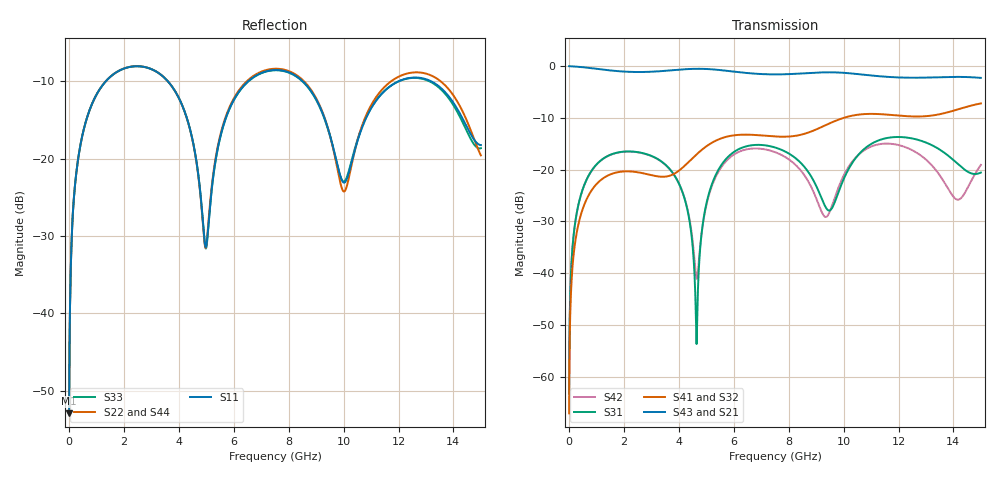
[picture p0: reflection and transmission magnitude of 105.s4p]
! Created with skrf 1.8.0 (http://scikit-rf.org).
# GHz S RI R 50.0
!freq ReS11 ImS11 ReS12 ImS12 ReS13 ImS13
! ReS14 ImS14
! ReS21 ImS21 ReS22 ImS22 ReS23 ImS23
! ReS24 ImS24
! ReS31 ImS31 ReS32 ImS32 ReS33 ImS33
! ReS34 ImS34
! ReS41 ImS41 ReS42 ImS42 ReS43 ImS43
! ReS44 ImS44
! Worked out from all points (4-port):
!   2499 points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, 5 MHz to 15 GHz, reference 50 ohm
!   strongest paths, dB at 5 MHz, 3.476 GHz, 7.19 GHz, 11.1 GHz, 15 GHz:
!     S43: 0.0, -0.9, -1.6, -1.9, -2.3
!     S21: 0.0, -0.9, -1.6, -1.9, -2.3
!     S41: -67.1, -21.4, -13.5, -9.2, -7.2
!     S32: -67.1, -21.4, -13.5, -9.3, -7.2
!     S31: -63.3, -18.9, -15.4, -14.8, -20.6
!     S42: -63.3, -18.9, -16.2, -15.4, -19.1
!   lowest |S11| = -52.9 dB at 5 MHz (marker M1), VSWR 1.00, Z = 50.2 + j0.138 ohm
!   |S11| at or under -10 dB: 3.599 GHz to 6.527 GHz (2.928 GHz wide, 57.8 % of centre); 8.513 GHz to 12.01 GHz (3.493 GHz wide, 34 % of centre); 13.19 GHz to end of sweep (the widest 3 of 4)
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0.005  0.0018 0.00137  0.9982 -0.0035  8.98e-05 0.000681  -8.74e-05 -0.000432
       0.9982 -0.0035  0.0018 0.00137  -8.74e-05 -0.000432  8.98e-05 0.000681
       8.98e-05 0.000681  -8.74e-05 -0.000432  0.0018 0.00137  0.9982 -0.0035
       -8.74e-05 -0.000432  8.98e-05 0.000681  0.9982 -0.0035  0.0018 0.00137
0.3126303  0.0281 0.0896  0.9615 -0.2172  0.0126 0.04  -0.0105 -0.025
           0.9615 -0.2172  0.0282 0.0896  -0.0105 -0.025  0.0125 0.04
           0.0126 0.04  -0.0105 -0.025  0.0282 0.0896  0.9615 -0.2172
           -0.0105 -0.025  0.0125 0.04  0.9615 -0.2172  0.0282 0.0896
1.469362  0.284 0.1751  0.5214 -0.7457  0.1268 0.0537  -0.089 -0.00192
          0.5214 -0.7457  0.2844 0.1748  -0.0889 -0.002  0.126 0.0549
          0.1268 0.0537  -0.0889 -0.002  0.2841 0.175  0.5214 -0.7457
          -0.089 -0.00192  0.126 0.0549  0.5214 -0.7457  0.2843 0.1748
4.645686  0.0443 -0.0838  -0.9021 -0.2695  -0.00206 5.67e-05  -0.0354 0.1356
          -0.9021 -0.2695  0.0434 -0.0831  -0.0364 0.1353  -0.0087 -0.00137
          -0.00206 5.67e-05  -0.0364 0.1353  0.0439 -0.0846  -0.9019 -0.2697
          -0.0354 0.1356  -0.0087 -0.00137  -0.9019 -0.2697  0.0442 -0.0835
5.858691  0.1415 0.1594  -0.7798 0.4353  0.1154 0.0754  0.1313 0.1653
          -0.7798 0.4353  0.1456 0.1619  0.1299 0.1662  0.1 0.0841
          0.1154 0.0754  0.1299 0.1662  0.1404 0.159  -0.7802 0.4351
          0.1313 0.1653  0.1 0.0841  -0.7802 0.4351  0.1454 0.1604
10.06044  0.0706 0.00456  0.8545 0.0839  0.00771 0.087  0.0197 -0.3187
          0.8545 0.0839  0.0621 0.00571  0.024 -0.3182  0.00187 0.0935
          0.00771 0.087  0.024 -0.3182  0.072 0.00692  0.8547 0.0831
          0.0197 -0.3187  0.00187 0.0935  0.8547 0.0831  0.0601 0.00686
15  0.1222 -0.00622  -0.7476 -0.1805  -0.0539 0.0765  -0.0915 0.4259
    -0.7476 -0.1805  0.0963 -0.042  -0.1012 0.4238  -0.00625 0.1109
    -0.0539 0.0765  -0.1012 0.4238  0.1168 0.00406  -0.749 -0.1765
    -0.0915 0.4259  -0.00625 0.1109  -0.749 -0.1765  0.0962 -0.0328
